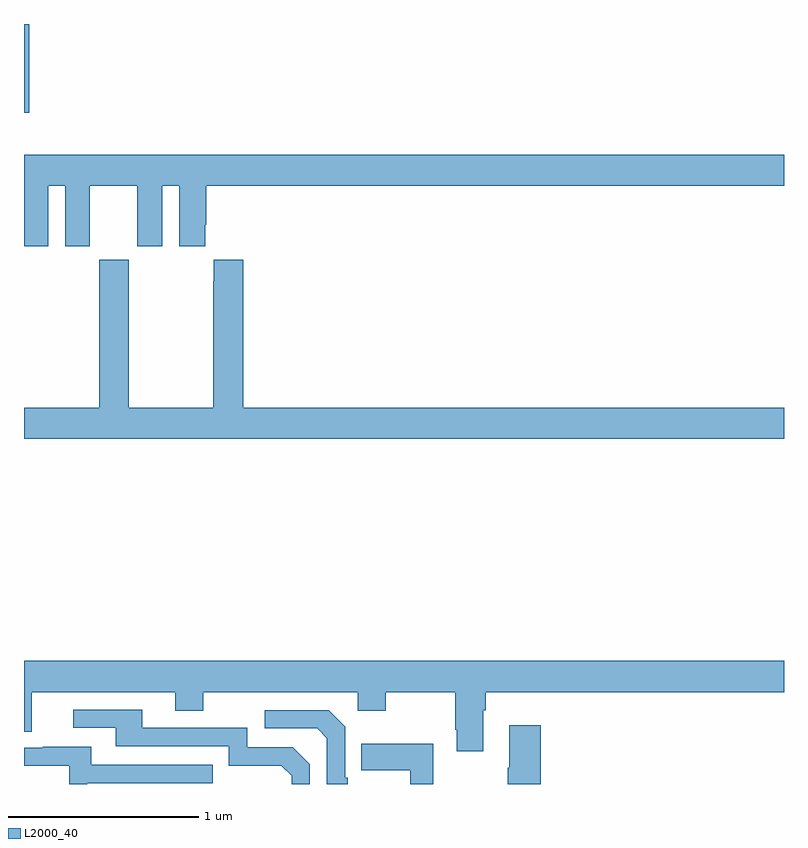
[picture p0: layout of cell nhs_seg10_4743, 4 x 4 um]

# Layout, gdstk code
import gdstk
lib = gdstk.Library(unit=1e-6, precision=1e-09)
def R(c, l, rs):  # rectangles x0, y0, x1, y1
    for r in rs: c.add(gdstk.rectangle(r[:2], r[2:], *l))
def P(c, l, *ps):  # polygons
    for p in ps: c.add(gdstk.Polygon(p, *l))
L2000_40 = (2000, 40)

nhs_seg10_4743 = lib.new_cell('nhs_seg10_4743')
R(nhs_seg10_4743, L2000_40, [(383,1302.033,383.027,1302.5)])
P(nhs_seg10_4743, L2000_40, [(383.128,1301.648),(383.216,1301.648),(383.216,1301.331),(383.347,1301.331),(383.347,1301.648),(383.597,1301.648),(383.597,1301.331),(383.728,1301.331),(383.728,1301.648),(383.816,1301.648),(383.816,1301.331),(383.953,1301.331),(383.953,1301.443),(383.96,1301.443),(383.96,1301.648),(387,1301.648),(387,1301.812),(383,1301.812),(383,1301.331),(383.128,1301.331)],
  [(387,1300.48),(384.155,1300.48),(384.155,1301.26),(383.999,1301.26),(383.999,1301.147),(383.995,1301.147),(383.995,1300.48),(383.55,1300.48),(383.55,1301.26),(383.395,1301.26),(383.395,1300.48),(383,1300.48),(383,1300.316),(387,1300.316)],
  [(385.417,1298.888),(385.43,1298.888),(385.43,1298.984),(387,1298.984),(387,1299.148),(383,1299.148),(383,1298.776),(383.041,1298.776),(383.041,1298.984),(383.795,1298.984),(383.795,1298.885),(383.943,1298.885),(383.943,1298.984),(384.756,1298.984),(384.756,1298.885),(384.903,1298.885),(384.903,1298.984),(385.27,1298.984),(385.27,1298.785),(385.277,1298.785),(385.277,1298.673),(385.417,1298.673)],
  [(384.504,1298.604),(384.414,1298.694),(384.174,1298.694),(384.174,1298.796),(383.623,1298.796),(383.623,1298.892),(383.259,1298.892),(383.259,1298.796),(383.483,1298.796),(383.483,1298.7),(384.078,1298.7),(384.078,1298.597),(384.355,1298.597),(384.408,1298.544),(384.408,1298.5),(384.504,1298.5)],
  [(384.703,1298.533),(384.69,1298.533),(384.69,1298.802),(384.603,1298.889),(384.267,1298.889),(384.267,1298.793),(384.543,1298.793),(384.594,1298.742),(384.594,1298.5),(384.703,1298.5)],
  [(385.721,1298.809),(385.553,1298.809),(385.553,1298.585),(385.546,1298.585),(385.546,1298.5),(385.721,1298.5)],
  [(385.153,1298.713),(384.775,1298.713),(384.775,1298.573),(385.032,1298.573),(385.032,1298.5),(385.153,1298.5)],
  [(383.334,1298.505),(383.993,1298.505),(383.993,1298.601),(383.353,1298.601),(383.353,1298.695),(383.099,1298.695),(383.099,1298.691),(383,1298.691),(383,1298.595),(383.238,1298.595),(383.238,1298.5),(383.334,1298.5)])

lib.write_gds('nhs_seg10_4743.gds')
